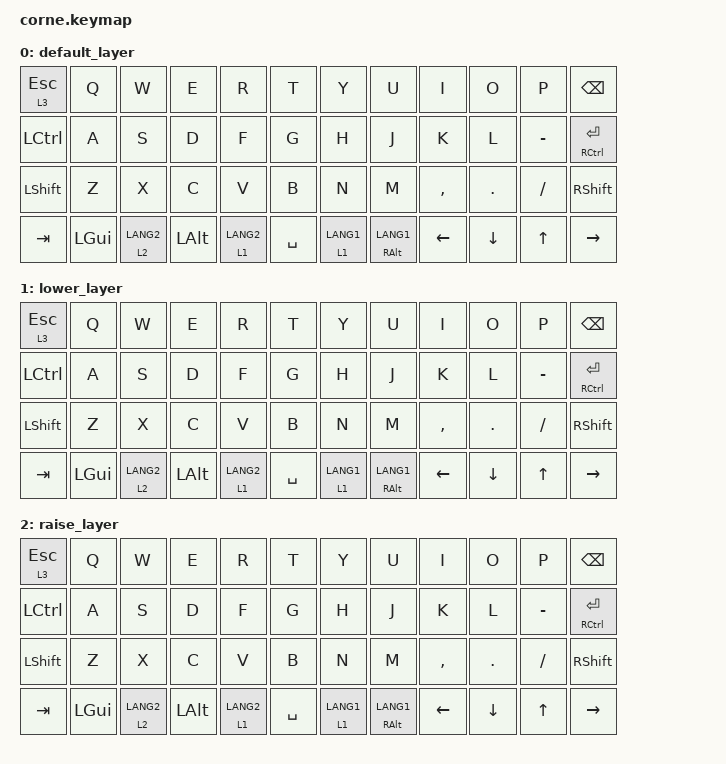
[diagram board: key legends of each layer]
/*
 * Copyright (c) 2020 The ZMK Contributors
 *
 * SPDX-License-Identifier: MIT
 */

#include <behaviors.dtsi>
#include <dt-bindings/zmk/keys.h>
#include <dt-bindings/zmk/bt.h>

/ {
        keymap {
                compatible = "zmk,keymap";

                default_layer {

                        bindings = <
&lt 3 ESCAPE      &kp Q         &kp W        &kp E         &kp R        &kp T        &kp Y        &kp U               &kp I           &kp O           &kp P         &kp BACKSPACE
&kp LEFT_CONTROL  &kp A         &kp S        &kp D         &kp F        &kp G        &kp H        &kp J               &kp K           &kp L           &kp MINUS     &mt RIGHT_CONTROL RETURN
&kp LEFT_SHIFT    &kp Z         &kp X        &kp C         &kp V        &kp B        &kp N        &kp M               &kp COMMA       &kp DOT         &kp SLASH     &kp RIGHT_SHIFT
&kp TAB           &kp LEFT_GUI  &lt 2 LANG2  &kp LEFT_ALT  &lt 1 LANG2  &kp SPACE    &lt 1 LANG1  &mt RIGHT_ALT LANG1 &kp LEFT_ARROW  &kp DOWN        &kp UP        &kp RIGHT
                        >;
                };
                lower_layer {

                        bindings = <
&lt 3 ESCAPE      &kp Q         &kp W        &kp E         &kp R        &kp T        &kp Y        &kp U               &kp I           &kp O           &kp P         &kp BACKSPACE
&kp LEFT_CONTROL  &kp A         &kp S        &kp D         &kp F        &kp G        &kp H        &kp J               &kp K           &kp L           &kp MINUS     &mt RIGHT_CONTROL RETURN
&kp LEFT_SHIFT    &kp Z         &kp X        &kp C         &kp V        &kp B        &kp N        &kp M               &kp COMMA       &kp DOT         &kp SLASH     &kp RIGHT_SHIFT
&kp TAB           &kp LEFT_GUI  &lt 2 LANG2  &kp LEFT_ALT  &lt 1 LANG2  &kp SPACE    &lt 1 LANG1  &mt RIGHT_ALT LANG1 &kp LEFT_ARROW  &kp DOWN        &kp UP        &kp RIGHT
                        >;
                };

                raise_layer {

                        bindings = <
&lt 3 ESCAPE      &kp Q         &kp W        &kp E         &kp R        &kp T        &kp Y        &kp U               &kp I           &kp O           &kp P         &kp BACKSPACE
&kp LEFT_CONTROL  &kp A         &kp S        &kp D         &kp F        &kp G        &kp H        &kp J               &kp K           &kp L           &kp MINUS     &mt RIGHT_CONTROL RETURN
&kp LEFT_SHIFT    &kp Z         &kp X        &kp C         &kp V        &kp B        &kp N        &kp M               &kp COMMA       &kp DOT         &kp SLASH     &kp RIGHT_SHIFT
&kp TAB           &kp LEFT_GUI  &lt 2 LANG2  &kp LEFT_ALT  &lt 1 LANG2  &kp SPACE    &lt 1 LANG1  &mt RIGHT_ALT LANG1 &kp LEFT_ARROW  &kp DOWN        &kp UP        &kp RIGHT
                        >;
                };
        };
};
